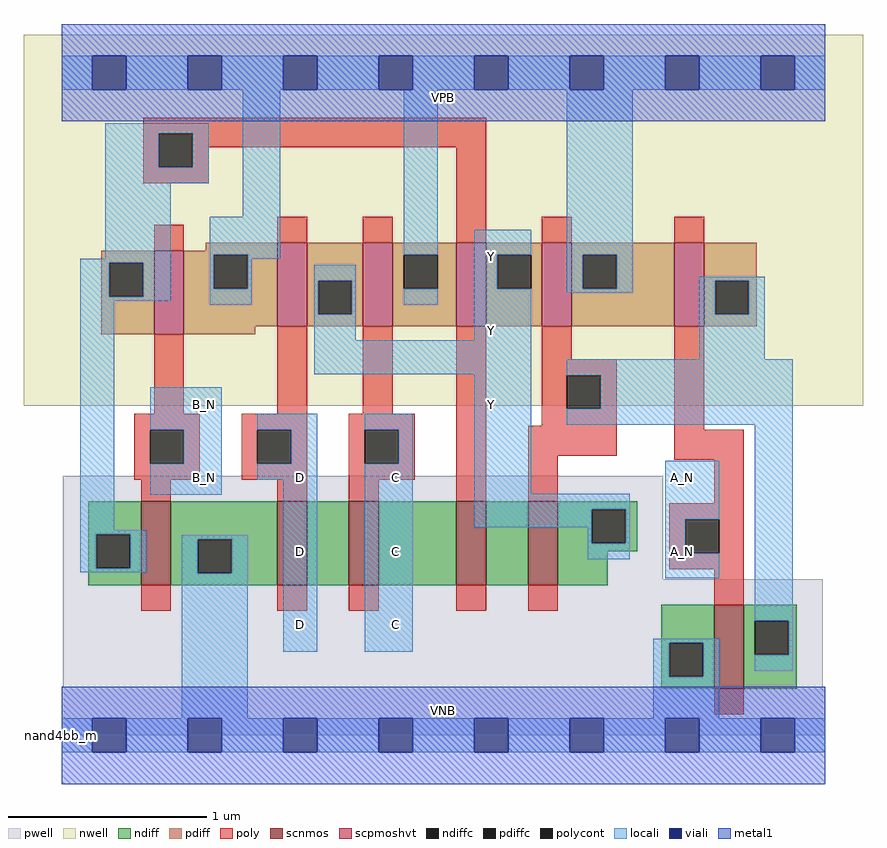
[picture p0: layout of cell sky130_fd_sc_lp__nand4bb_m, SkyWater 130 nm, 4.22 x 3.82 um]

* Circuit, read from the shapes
.subckt sky130_fd_sc_lp__nand4bb_m A_N B_N C D VGND VNB VPB VPWR Y
XM1 VGND B_N n1 VNB sky130_fd_pr__nfet_01v8 w=0.42 l=0.15
XM2 n2 D VGND VNB sky130_fd_pr__nfet_01v8 w=0.42 l=0.15
XM3 n3 C n2 VNB sky130_fd_pr__nfet_01v8 w=0.42 l=0.15
XM4 n4 n1 n3 VNB sky130_fd_pr__nfet_01v8 w=0.42 l=0.15
XM5 Y n5 n4 VNB sky130_fd_pr__nfet_01v8 w=0.42 l=0.15
XM6 n5 A_N VGND VNB sky130_fd_pr__nfet_01v8 w=0.42 l=0.15
XM7 VPWR B_N n1 VPB sky130_fd_pr__pfet_01v8_hvt w=0.42 l=0.15
XM8 Y D VPWR VPB sky130_fd_pr__pfet_01v8_hvt w=0.42 l=0.15
XM9 VPWR C Y VPB sky130_fd_pr__pfet_01v8_hvt w=0.42 l=0.15
XM10 Y n1 VPWR VPB sky130_fd_pr__pfet_01v8_hvt w=0.42 l=0.15
XM11 VPWR n5 Y VPB sky130_fd_pr__pfet_01v8_hvt w=0.42 l=0.15
XM12 n5 A_N VPWR VPB sky130_fd_pr__pfet_01v8_hvt w=0.42 l=0.15
.ends

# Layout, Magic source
magic
tech sky130A
magscale 1 2
<< nwell >>
rect -38 331 806 704
<< pwell >>
rect 1 157 605 261
rect 1 49 765 157
rect 0 0 768 49
<< scnmos >>
rect 80 151 110 235
rect 217 151 247 235
rect 289 151 319 235
rect 397 151 427 235
rect 469 151 499 235
rect 656 47 686 131
<< scpmoshvt >>
rect 93 403 123 487
rect 217 411 247 495
rect 303 411 333 495
rect 397 411 427 495
rect 483 411 513 495
rect 616 411 646 495
<< ndiff >>
rect 27 202 80 235
rect 27 168 35 202
rect 69 168 80 202
rect 27 151 80 168
rect 110 197 217 235
rect 110 163 137 197
rect 171 163 217 197
rect 110 151 217 163
rect 247 151 289 235
rect 319 151 397 235
rect 427 151 469 235
rect 499 227 579 235
rect 499 193 533 227
rect 567 193 579 227
rect 499 185 579 193
rect 499 151 549 185
rect 603 93 656 131
rect 603 59 611 93
rect 645 59 656 93
rect 603 47 656 59
rect 686 115 739 131
rect 686 81 697 115
rect 731 81 739 115
rect 686 47 739 81
<< pdiff >>
rect 145 487 217 495
rect 40 475 93 487
rect 40 441 48 475
rect 82 441 93 475
rect 40 403 93 441
rect 123 483 217 487
rect 123 449 153 483
rect 187 449 217 483
rect 123 411 217 449
rect 247 457 303 495
rect 247 423 258 457
rect 292 423 303 457
rect 247 411 303 423
rect 333 483 397 495
rect 333 449 344 483
rect 378 449 397 483
rect 333 411 397 449
rect 427 483 483 495
rect 427 449 438 483
rect 472 449 483 483
rect 427 411 483 449
rect 513 483 616 495
rect 513 449 524 483
rect 558 449 616 483
rect 513 411 616 449
rect 646 457 699 495
rect 646 423 657 457
rect 691 423 699 457
rect 646 411 699 423
rect 123 403 195 411
<< ndiffc >>
rect 35 168 69 202
rect 137 163 171 197
rect 533 193 567 227
rect 611 59 645 93
rect 697 81 731 115
<< pdiffc >>
rect 48 441 82 475
rect 153 449 187 483
rect 258 423 292 457
rect 344 449 378 483
rect 438 449 472 483
rect 524 449 558 483
rect 657 423 691 457
<< poly >>
rect 82 605 427 621
rect 82 571 98 605
rect 132 591 427 605
rect 132 571 148 591
rect 82 555 148 571
rect 93 487 123 513
rect 217 495 247 521
rect 303 495 333 521
rect 397 495 427 591
rect 483 495 513 521
rect 616 495 646 521
rect 93 323 123 403
rect 217 323 247 411
rect 303 323 333 411
rect 73 307 139 323
rect 73 273 89 307
rect 123 273 139 307
rect 73 257 139 273
rect 181 307 247 323
rect 181 273 197 307
rect 231 273 247 307
rect 181 257 247 273
rect 80 235 110 257
rect 217 235 247 257
rect 289 307 355 323
rect 289 273 305 307
rect 339 273 355 307
rect 289 257 355 273
rect 289 235 319 257
rect 397 235 427 411
rect 483 378 513 411
rect 483 362 558 378
rect 483 328 508 362
rect 542 328 558 362
rect 483 311 558 328
rect 469 281 558 311
rect 616 307 646 411
rect 469 235 499 281
rect 616 277 686 307
rect 656 233 686 277
rect 611 217 686 233
rect 611 183 627 217
rect 661 183 686 217
rect 611 167 686 183
rect 80 125 110 151
rect 217 125 247 151
rect 289 125 319 151
rect 397 125 427 151
rect 469 125 499 151
rect 656 131 686 167
rect 656 21 686 47
<< polycont >>
rect 98 571 132 605
rect 89 273 123 307
rect 197 273 231 307
rect 305 273 339 307
rect 508 328 542 362
rect 627 183 661 217
<< locali >>
rect 0 649 31 683
rect 65 649 127 683
rect 161 649 223 683
rect 257 649 319 683
rect 353 649 415 683
rect 449 649 511 683
rect 545 649 607 683
rect 641 649 703 683
rect 737 649 768 683
rect 44 605 148 615
rect 44 571 98 605
rect 132 571 148 605
rect 44 555 148 571
rect 44 479 110 555
rect 182 521 220 649
rect 19 475 110 479
rect 19 441 48 475
rect 82 441 110 475
rect 19 437 110 441
rect 149 483 220 521
rect 149 449 153 483
rect 187 479 220 483
rect 344 483 378 649
rect 187 449 191 479
rect 19 206 53 437
rect 149 433 191 449
rect 254 457 296 473
rect 254 423 258 457
rect 292 423 296 457
rect 344 433 378 449
rect 415 483 472 508
rect 415 449 438 483
rect 254 397 296 423
rect 415 397 472 449
rect 508 483 574 649
rect 508 449 524 483
rect 558 449 574 483
rect 508 445 574 449
rect 641 457 707 461
rect 254 363 472 397
rect 641 423 657 457
rect 691 423 707 457
rect 641 378 707 423
rect 89 307 161 350
rect 123 273 161 307
rect 89 242 161 273
rect 197 307 257 323
rect 231 273 257 307
rect 197 257 257 273
rect 19 202 85 206
rect 19 168 35 202
rect 69 168 85 202
rect 19 164 85 168
rect 121 197 187 201
rect 121 163 137 197
rect 171 163 187 197
rect 121 17 187 163
rect 223 84 257 257
rect 305 307 353 323
rect 339 273 353 307
rect 305 84 353 273
rect 415 243 472 363
rect 508 362 735 378
rect 542 328 735 362
rect 508 312 735 328
rect 415 227 571 243
rect 415 209 533 227
rect 529 193 533 209
rect 567 193 571 227
rect 529 177 571 193
rect 607 217 661 276
rect 607 183 627 217
rect 607 158 661 183
rect 697 115 735 312
rect 595 93 661 97
rect 595 59 611 93
rect 645 59 661 93
rect 731 81 735 115
rect 697 65 735 81
rect 595 17 661 59
rect 0 -17 31 17
rect 65 -17 127 17
rect 161 -17 223 17
rect 257 -17 319 17
rect 353 -17 415 17
rect 449 -17 511 17
rect 545 -17 607 17
rect 641 -17 703 17
rect 737 -17 768 17
<< viali >>
rect 31 649 65 683
rect 127 649 161 683
rect 223 649 257 683
rect 319 649 353 683
rect 415 649 449 683
rect 511 649 545 683
rect 607 649 641 683
rect 703 649 737 683
rect 31 -17 65 17
rect 127 -17 161 17
rect 223 -17 257 17
rect 319 -17 353 17
rect 415 -17 449 17
rect 511 -17 545 17
rect 607 -17 641 17
rect 703 -17 737 17
<< metal1 >>
rect 0 683 768 715
rect 0 649 31 683
rect 65 649 127 683
rect 161 649 223 683
rect 257 649 319 683
rect 353 649 415 683
rect 449 649 511 683
rect 545 649 607 683
rect 641 649 703 683
rect 737 649 768 683
rect 0 617 768 649
rect 0 17 768 49
rect 0 -17 31 17
rect 65 -17 127 17
rect 161 -17 223 17
rect 257 -17 319 17
rect 353 -17 415 17
rect 449 -17 511 17
rect 545 -17 607 17
rect 641 -17 703 17
rect 737 -17 768 17
rect 0 -49 768 -17
<< labels >>
flabel pwell s 0 0 768 49 0 FreeSans 200 0 0 0 VNB
port 6 nsew ground bidirectional
flabel nwell s 0 617 768 666 0 FreeSans 200 0 0 0 VPB
port 7 nsew power bidirectional
rlabel comment s 0 0 0 0 4 nand4bb_m
flabel metal1 s 0 617 768 666 0 FreeSans 340 0 0 0 VPWR
port 8 nsew power bidirectional
flabel metal1 s 0 0 768 49 0 FreeSans 340 0 0 0 VGND
port 5 nsew ground bidirectional
flabel locali s 415 316 449 350 0 FreeSans 340 0 0 0 Y
port 9 nsew signal output
flabel locali s 415 390 449 424 0 FreeSans 340 0 0 0 Y
port 9 nsew signal output
flabel locali s 415 464 449 498 0 FreeSans 340 0 0 0 Y
port 9 nsew signal output
flabel locali s 319 94 353 128 0 FreeSans 340 0 0 0 C
port 3 nsew signal input
flabel locali s 319 168 353 202 0 FreeSans 340 0 0 0 C
port 3 nsew signal input
flabel locali s 319 242 353 276 0 FreeSans 340 0 0 0 C
port 3 nsew signal input
flabel locali s 127 242 161 276 0 FreeSans 340 0 0 0 B_N
port 2 nsew signal input
flabel locali s 127 316 161 350 0 FreeSans 340 0 0 0 B_N
port 2 nsew signal input
flabel locali s 223 94 257 128 0 FreeSans 340 0 0 0 D
port 4 nsew signal input
flabel locali s 223 168 257 202 0 FreeSans 340 0 0 0 D
port 4 nsew signal input
flabel locali s 223 242 257 276 0 FreeSans 340 0 0 0 D
port 4 nsew signal input
flabel locali s 607 168 641 202 0 FreeSans 340 0 0 0 A_N
port 1 nsew signal input
flabel locali s 607 242 641 276 0 FreeSans 340 0 0 0 A_N
port 1 nsew signal input
<< properties >>
string LEFsite unit
string LEFclass CORE
string FIXED_BBOX 0 0 768 666
string GDS_FILE $PDKPATH/libs.ref/sky130_fd_sc_lp/gds/sky130_fd_sc_lp.gds
string LEFsymmetry X Y R90
string GDS_END 5675108
string GDS_START 5667942
<< end >>
